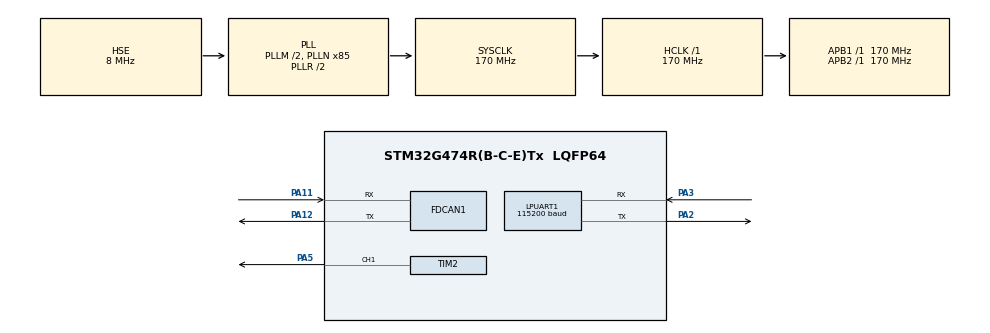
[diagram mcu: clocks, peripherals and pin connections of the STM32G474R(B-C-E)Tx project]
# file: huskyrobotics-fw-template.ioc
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FDCAN1.AutoRetransmission=ENABLE
FDCAN1.CalculateBaudRateNominal=125000
FDCAN1.CalculateTimeBitNominal=8000
FDCAN1.CalculateTimeQuantumNominal=100.0
FDCAN1.NominalPrescaler=17
FDCAN1.NominalSyncJumpWidth=10
FDCAN1.NominalTimeSeg1=69
FDCAN1.NominalTimeSeg2=10
LPUART1.BaudRate=115200
Mcu.Family=STM32G4
Mcu.Name=STM32G474R(B-C-E)Tx
Mcu.Package=LQFP64
NVIC.PriorityGroup=NVIC_PRIORITYGROUP_4
NVIC.TIM3_IRQn=true\:0\:0\:false\:false\:true\:true\:true\:true
PA11.Mode=FDCAN_Activate
PA11.Signal=FDCAN1_RX
PA12.Mode=FDCAN_Activate
PA12.Signal=FDCAN1_TX
PA13.Mode=Serial_Wire
PA13.Signal=SYS_JTMS-SWDIO
PA14.Mode=Serial_Wire
PA14.Signal=SYS_JTCK-SWCLK
PA2.Mode=Asynchronous
PA2.Signal=LPUART1_TX
PA3.Mode=Asynchronous
PA3.Signal=LPUART1_RX
PA5.Signal=S_TIM2_CH1
PF0-OSC_IN.Mode=HSE-External-Clock-Source
PF0-OSC_IN.Signal=RCC_OSC_IN
ProjectManager.HeapSize=0x200
ProjectManager.StackSize=0x400
ProjectManager.TargetToolchain=STM32CubeIDE
RCC.ADC12Freq_Value=170000000
RCC.ADC345Freq_Value=170000000
RCC.AHBFreq_Value=170000000
RCC.APB1Freq_Value=170000000
RCC.APB1TimFreq_Value=170000000
RCC.APB2Freq_Value=170000000
RCC.APB2TimFreq_Value=170000000
RCC.CortexFreq_Value=170000000
RCC.EXTERNAL_CLOCK_VALUE=12288000
RCC.HCLKFreq_Value=170000000
RCC.HSE_VALUE=8000000
RCC.HSI48_VALUE=48000000
RCC.HSI_VALUE=16000000
RCC.LSE_VALUE=32768
RCC.PLLM=RCC_PLLM_DIV2
RCC.PLLN=85
RCC.PLLSourceVirtual=RCC_PLLSOURCE_HSE
RCC.SYSCLKFreq_VALUE=170000000
RCC.SYSCLKSource=RCC_SYSCLKSOURCE_PLLCLK
RCC.USBFreq_Value=170000000
RCC.VCOOutputFreq_Value=340000000
SH.S_TIM2_CH1.0=TIM2_CH1,PWM Generation1 CH1
TIM2.Channel-PWM\ Generation1\ CH1=TIM_CHANNEL_1
TIM2.PeriodNoDither=1024
TIM3.PeriodNoDither=9999
TIM3.Prescaler=169
VP_SYS_VS_DBSignals.Mode=DisableDeadBatterySignals
VP_TIM3_VS_ClockSourceINT.Mode=Internal
board=custom

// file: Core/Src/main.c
/* USER CODE BEGIN Header */
/**
  ******************************************************************************
  * @file           : main.c
  * @brief          : Main program body
  ******************************************************************************
  * @attention
  *
  * Copyright (c) 2026 STMicroelectronics.
  * All rights reserved.
  *
  * This software is licensed under terms that can be found in the LICENSE file
  * in the root directory of this software component.
  * If no LICENSE file comes with this software, it is provided AS-IS.
  *
  ******************************************************************************
  */
/* USER CODE END Header */
#include "main.h"

/* USER CODE BEGIN PD */
#define DEBUG_UART_ENABLE 1    // Set to 0 to disable the UART test loop
#define HEARTBEAT_PERIOD_MS 200

#define USER_LED_ID 0x01
/* USER CODE END PD */

FDCAN_HandleTypeDef hfdcan1;

UART_HandleTypeDef hlpuart1;

TIM_HandleTypeDef htim2;
TIM_HandleTypeDef htim3;

/* USER CODE BEGIN PV */
// States to be broadcast
uint8_t deviceState;
uint32_t deviceError;

// These are your handles for using the CAN library
CANHandle_t CANHandle = &hfdcan1; // Change this to hfdcan2 or hfdcan3 depending on which one you enabled

// This is your CAN address and the broadcast domains you will listen for
CANDevice_t thisCANDevice = {
		.peripheralDomain = 1,
		.powerDomain = 1,
		.motorDomain = 1,
		.deviceUUID = CAN_UUID_DEBUG1
};

// I instantiate this as an imaginary target for sending CAN messages to
CANDevice_t targetCANDevice = {
		.peripheralDomain = 0,
		.powerDomain = 0,
		.motorDomain = 0,
		.deviceUUID = CAN_UUID_DEBUG2
};

CANDevice_t jetson = {
		.peripheralDomain = 0,
		.powerDomain = 0,
		.motorDomain = 0,
		.deviceUUID = CAN_UUID_JETSON
};

// These will be the CAN packets for receive and send.
CANPacket_t rxPacket;
CANPacket_t txPacket;

// Heartbeat
uint32_t heartbeatCounter;
volatile CANPacket_t heartbeatPacket; //Must be separate packet because it is written during an interrupt.

// Firmware Version
const char *fwName = "temp";
uint16_t revision = 1;
/* USER CODE END PV */

void SystemClock_Config(void);
static void MX_GPIO_Init(void);
static void MX_FDCAN1_Init(void);
static void MX_LPUART1_UART_Init(void);
static void MX_TIM2_Init(void);
static void MX_TIM3_Init(void);

int main(void)
{

  /* MCU Configuration--------------------------------------------------------*/

  /* Reset of all peripherals, Initializes the Flash interface and the Systick. */
  HAL_Init();

  /* Configure the system clock */
  SystemClock_Config();

  /* Initialize all configured peripherals */
  MX_GPIO_Init();
  MX_FDCAN1_Init();
  MX_LPUART1_UART_Init();
  MX_TIM2_Init();
  MX_TIM3_Init();
  /* USER CODE BEGIN 2 */

  CANInit(CANHandle, &thisCANDevice);
  HAL_TIM_PWM_Start(&htim2, TIM_CHANNEL_1);
  HAL_TIM_Base_Start_IT(&htim3);

  /* USER CODE END 2 */

  /* Infinite loop */
  /* USER CODE BEGIN WHILE */
  while (1)
  {

	#if DEBUG_UART_ENABLE
		uint8_t rxByte = 0;

		if (HAL_UART_Receive(&hlpuart1, &rxByte, 1, 10) == HAL_OK) // 1 is the size of the data (1 char), 10 is the time to wait for response in ms
		{
			switch (rxByte)
			{
				case 'a':
					// Test case A (e.g. turn on user LED)
					TIM2->CCR1 = 1023;
					break;

				case 'b':
					// Test case B (e.g. turn off user LED)
					TIM2->CCR1 = 0;
					break;

				case 'c':
					// Test Case C (e.g. send PWM duty cycle command to target CAN device)
					txPacket = CANPeripheralPacket_SetPWMDutyCycle(thisCANDevice, targetCANDevice, 0x01, 50.0);
					CANSend(CANHandle, &txPacket);
					break;

				// Add other cases for device specific testing
				default:
					// All other characters
					break;
			}
		}
	#endif

	if(CANPollAndReceive(CANHandle, &rxPacket)){
		uint8_t ackReq = rxPacket.command & 0x80;
		bool failure = 1;
		switch(rxPacket.command & 0x7F) {
			case(CAN_COMMAND_ID__VERSION_GET):
				txPacket = CANUniversalPacket_FirmwareVersion(thisCANDevice, targetCANDevice, fwName, revision);
				failure = CANSend(CANHandle, &txPacket);
				break;
			case(CAN_COMMAND_ID__PWM_DUTY_CYCLE):
				CANPeripheralPacket_SetPWMDutyCycle_Decoded_t pwmPacket = CANPeripheralPacket_SetPWMDutyCycle_Decode(&rxPacket);
				if(pwmPacket.peripheralID == USER_LED_ID) {
					TIM2->CCR1 = (pwmPacket.dutyCycle)*10;
					failure = 0;
				}
				break;
		}

		if(ackReq) {
			txPacket = CANUniversalPacket_Acknowledge(thisCANDevice, rxPacket.device, failure, rxPacket.command);
			CANSend(CANHandle, &txPacket);
		}
	}

    /* USER CODE END WHILE */

  }
}

void SystemClock_Config(void)
{
  RCC_OscInitTypeDef RCC_OscInitStruct = {0};
  RCC_ClkInitTypeDef RCC_ClkInitStruct = {0};

  /** Configure the main internal regulator output voltage
  */
  HAL_PWREx_ControlVoltageScaling(PWR_REGULATOR_VOLTAGE_SCALE1_BOOST);

  /** Initializes the RCC Oscillators according to the specified parameters
  * in the RCC_OscInitTypeDef structure.
  */
  RCC_OscInitStruct.OscillatorType = RCC_OSCILLATORTYPE_HSE;
  RCC_OscInitStruct.HSEState = RCC_HSE_BYPASS;
  RCC_OscInitStruct.PLL.PLLState = RCC_PLL_ON;
  RCC_OscInitStruct.PLL.PLLSource = RCC_PLLSOURCE_HSE;
  RCC_OscInitStruct.PLL.PLLM = RCC_PLLM_DIV2;
  RCC_OscInitStruct.PLL.PLLN = 85;
  RCC_OscInitStruct.PLL.PLLP = RCC_PLLP_DIV2;
  RCC_OscInitStruct.PLL.PLLQ = RCC_PLLQ_DIV2;
  RCC_OscInitStruct.PLL.PLLR = RCC_PLLR_DIV2;
  if (HAL_RCC_OscConfig(&RCC_OscInitStruct) != HAL_OK)
  {
    Error_Handler();
  }

  /** Initializes the CPU, AHB and APB buses clocks
  */
  RCC_ClkInitStruct.ClockType = RCC_CLOCKTYPE_HCLK|RCC_CLOCKTYPE_SYSCLK
                              |RCC_CLOCKTYPE_PCLK1|RCC_CLOCKTYPE_PCLK2;
  RCC_ClkInitStruct.SYSCLKSource = RCC_SYSCLKSOURCE_PLLCLK;
  RCC_ClkInitStruct.AHBCLKDivider = RCC_SYSCLK_DIV1;
  RCC_ClkInitStruct.APB1CLKDivider = RCC_HCLK_DIV1;
  RCC_ClkInitStruct.APB2CLKDivider = RCC_HCLK_DIV1;

  if (HAL_RCC_ClockConfig(&RCC_ClkInitStruct, FLASH_LATENCY_4) != HAL_OK)
  {
    Error_Handler();
  }
}

static void MX_FDCAN1_Init(void)
{

  hfdcan1.Instance = FDCAN1;
  hfdcan1.Init.ClockDivider = FDCAN_CLOCK_DIV1;
  hfdcan1.Init.FrameFormat = FDCAN_FRAME_CLASSIC;
  hfdcan1.Init.Mode = FDCAN_MODE_NORMAL;
  hfdcan1.Init.AutoRetransmission = ENABLE;
  hfdcan1.Init.TransmitPause = DISABLE;
  hfdcan1.Init.ProtocolException = DISABLE;
  hfdcan1.Init.NominalPrescaler = 17;
  hfdcan1.Init.NominalSyncJumpWidth = 10;
  hfdcan1.Init.NominalTimeSeg1 = 69;
  hfdcan1.Init.NominalTimeSeg2 = 10;
  hfdcan1.Init.DataPrescaler = 1;
  hfdcan1.Init.DataSyncJumpWidth = 1;
  hfdcan1.Init.DataTimeSeg1 = 1;
  hfdcan1.Init.DataTimeSeg2 = 1;
  hfdcan1.Init.StdFiltersNbr = 0;
  hfdcan1.Init.ExtFiltersNbr = 0;
  hfdcan1.Init.TxFifoQueueMode = FDCAN_TX_FIFO_OPERATION;
  if (HAL_FDCAN_Init(&hfdcan1) != HAL_OK)
  {
    Error_Handler();
  }

}

static void MX_LPUART1_UART_Init(void)
{

  hlpuart1.Instance = LPUART1;
  hlpuart1.Init.BaudRate = 115200;
  hlpuart1.Init.WordLength = UART_WORDLENGTH_8B;
  hlpuart1.Init.StopBits = UART_STOPBITS_1;
  hlpuart1.Init.Parity = UART_PARITY_NONE;
  hlpuart1.Init.Mode = UART_MODE_TX_RX;
  hlpuart1.Init.HwFlowCtl = UART_HWCONTROL_NONE;
  hlpuart1.Init.OneBitSampling = UART_ONE_BIT_SAMPLE_DISABLE;
  hlpuart1.Init.ClockPrescaler = UART_PRESCALER_DIV1;
  hlpuart1.AdvancedInit.AdvFeatureInit = UART_ADVFEATURE_NO_INIT;
  if (HAL_UART_Init(&hlpuart1) != HAL_OK)
  {
    Error_Handler();
  }
  if (HAL_UARTEx_SetTxFifoThreshold(&hlpuart1, UART_TXFIFO_THRESHOLD_1_8) != HAL_OK)
  {
    Error_Handler();
  }
  if (HAL_UARTEx_SetRxFifoThreshold(&hlpuart1, UART_RXFIFO_THRESHOLD_1_8) != HAL_OK)
  {
    Error_Handler();
  }
  if (HAL_UARTEx_DisableFifoMode(&hlpuart1) != HAL_OK)
  {
    Error_Handler();
  }

}

static void MX_TIM2_Init(void)
{

  TIM_MasterConfigTypeDef sMasterConfig = {0};
  TIM_OC_InitTypeDef sConfigOC = {0};

  htim2.Instance = TIM2;
  htim2.Init.Prescaler = 0;
  htim2.Init.CounterMode = TIM_COUNTERMODE_UP;
  htim2.Init.Period = 1024;
  htim2.Init.ClockDivision = TIM_CLOCKDIVISION_DIV1;
  htim2.Init.AutoReloadPreload = TIM_AUTORELOAD_PRELOAD_DISABLE;
  if (HAL_TIM_PWM_Init(&htim2) != HAL_OK)
  {
    Error_Handler();
  }
  sMasterConfig.MasterOutputTrigger = TIM_TRGO_RESET;
  sMasterConfig.MasterSlaveMode = TIM_MASTERSLAVEMODE_DISABLE;
  if (HAL_TIMEx_MasterConfigSynchronization(&htim2, &sMasterConfig) != HAL_OK)
  {
    Error_Handler();
  }
  sConfigOC.OCMode = TIM_OCMODE_PWM1;
  sConfigOC.Pulse = 0;
  sConfigOC.OCPolarity = TIM_OCPOLARITY_HIGH;
  sConfigOC.OCFastMode = TIM_OCFAST_DISABLE;
  if (HAL_TIM_PWM_ConfigChannel(&htim2, &sConfigOC, TIM_CHANNEL_1) != HAL_OK)
  {
    Error_Handler();
  }
  HAL_TIM_MspPostInit(&htim2);

}

static void MX_TIM3_Init(void)
{

  TIM_ClockConfigTypeDef sClockSourceConfig = {0};
  TIM_MasterConfigTypeDef sMasterConfig = {0};

  htim3.Instance = TIM3;
  htim3.Init.Prescaler = 169;
  htim3.Init.CounterMode = TIM_COUNTERMODE_UP;
  htim3.Init.Period = 9999;
  htim3.Init.ClockDivision = TIM_CLOCKDIVISION_DIV1;
  htim3.Init.AutoReloadPreload = TIM_AUTORELOAD_PRELOAD_DISABLE;
  if (HAL_TIM_Base_Init(&htim3) != HAL_OK)
  {
    Error_Handler();
  }
  sClockSourceConfig.ClockSource = TIM_CLOCKSOURCE_INTERNAL;
  if (HAL_TIM_ConfigClockSource(&htim3, &sClockSourceConfig) != HAL_OK)
  {
    Error_Handler();
  }
  sMasterConfig.MasterOutputTrigger = TIM_TRGO_RESET;
  sMasterConfig.MasterSlaveMode = TIM_MASTERSLAVEMODE_DISABLE;
  if (HAL_TIMEx_MasterConfigSynchronization(&htim3, &sMasterConfig) != HAL_OK)
  {
    Error_Handler();
  }

}

static void MX_GPIO_Init(void)
{

  /* GPIO Ports Clock Enable */
  __HAL_RCC_GPIOF_CLK_ENABLE();
  __HAL_RCC_GPIOA_CLK_ENABLE();

}

/* USER CODE BEGIN 4 */
//Heartbeat timer interrupt
void HAL_TIM_PeriodElapsedCallback(TIM_HandleTypeDef *htim)
{
    if (htim->Instance == TIM3)
    {
        heartbeatCounter++;

        if (heartbeatCounter*10 >= HEARTBEAT_PERIOD_MS) // interrupt occurs every 10ms
        {
        	heartbeatCounter = 0;
            CANSend(CANHandle, &heartbeatPacket);
        }
    }
}

void updateState(uint32_t newError, uint8_t newState) {
	// To avoid the heartbeat accidentally sending while writing to it, interrupts must be disabled temporarily
	__disable_irq();
	deviceError = newError;
	deviceState = newState;

	heartbeatPacket = CANUniversalPacket_HeartBeat(thisCANDevice, jetson, newError, newState);
	__enable_irq();
}

/* USER CODE END 4 */

void Error_Handler(void)
{
  __disable_irq();
  while (1)
  {
  }
}
